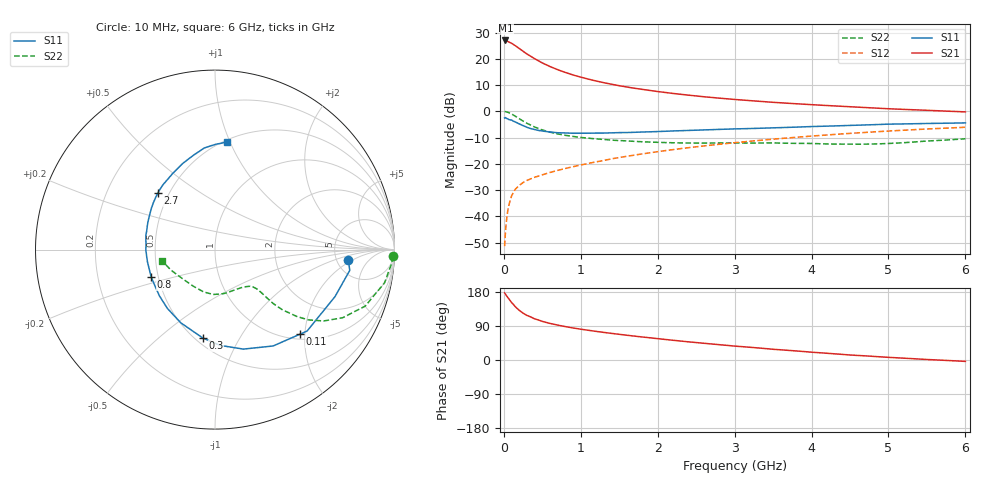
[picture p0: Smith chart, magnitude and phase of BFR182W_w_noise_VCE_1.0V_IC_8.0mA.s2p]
! Infineon Technologies  Discrete & RF Semiconductors
! BFR182W
! VCE =  1.0 V,  IC =  8.0 mA
! Common Emitter S-Parameters:  Jan 2017
# GHz  S  MA  R  50
!  f  S11  S21  S12  S22
! GHz  MAG  ANG  MAG  ANG  MAG  ANG  MAG  ANG
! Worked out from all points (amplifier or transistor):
!   77 points, 10 MHz to 6 GHz, reference 50 ohm
!   highest |S21| = 27.0 dB at 20 MHz (marker M1)
!   |S21| within 3 dB of that: start of sweep to 197 MHz
!   unconditionally stable (mu >= 1): 1.027 GHz to 2.953 GHz
!   at 130 MHz: K = 0.25, MSG = 28.0 dB, |S12| = -30.6 dB
!   at 2.2 GHz: K = 1.05, MAG = 9.3 dB, |S12| = -14.6 dB
!   at 6 GHz: K = 0.90, MSG = 2.9 dB, |S12| = -6.1 dB
!   lowest NFmin = 1.00 dB at 450 MHz
!   S11 on the Smith chart (normalised r, x): 10 MHz: 6.41, -1.69; 110 MHz: 1.11, -1.89; 300 MHz: 0.54, -0.71; 800 MHz: 0.46, -0.16; 2.7 GHz: 0.44, +0.34; 6 GHz: 0.52, +0.97
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0.01  0.7458 -4.5  22.09 177.1  0.0027 84.4  0.9921 -2.2
0.02  0.7597 -8.8  22.38 174.1  0.0047 95.1  0.9866 -4.6
0.05  0.7181 -21.4  21.55 165.2  0.0125 76.7  0.9626 -11.1
0.1  0.6849 -41.5  19.87 151.8  0.0244 72.4  0.8943 -20.6
0.11  0.6687 -44.7  19.39 149.7  0.0261 70.6  0.8756 -22.0
0.15  0.6271 -58.9  17.77 140.4  0.0329 65.2  0.8062 -28.1
0.2  0.5764 -74.1  15.73 131.1  0.0387 60.7  0.7243 -33.3
0.25  0.5346 -86.9  13.93 123.6  0.0441 57.4  0.6524 -36.9
0.3  0.497 -97.9  12.36 117.7  0.0483 55.8  0.5909 -39.2
0.4  0.4501 -115.1  10.04 108.6  0.0554 54.9  0.5024 -41.8
0.5  0.4216 -129.0  8.346 101.9  0.0617 54.7  0.4422 -42.8
0.6  0.4031 -140.1  7.138 96.5  0.0684 55.5  0.4007 -42.9
0.8  0.387 -156.7  5.503 88.1  0.0815 58.0  0.3491 -42.9
0.9  0.3822 -163.4  4.923 84.5  0.0882 58.2  0.3325 -43.0
1.1  0.3827 -174.9  4.1 78.4  0.1021 59.9  0.3078 -43.8
1.5  0.3931 168.4  3.077 67.8  0.1316 60.8  0.2773 -47.6
2.1  0.4169 149.6  2.284 54.2  0.1784 60.0  0.254 -58.7
2.7  0.4472 135.5  1.838 42.3  0.2272 57.1  0.2489 -73.4
3.1  0.466 127.0  1.641 35.2  0.2606 54.4  0.2489 -82.9
4.1  0.5172 108.9  1.314 19.2  0.346 46.4  0.2414 -108.0
5.1  0.5726 94.6  1.104 5.9  0.4288 36.9  0.248 -142.8
6  0.6021 83.8  0.975 -3.7  0.4971 27.7  0.2997 -167.9
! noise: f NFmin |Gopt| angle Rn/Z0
0.45  1  0.12  39  0.15
0.9  1.08  0.12  69  0.15
1.9  1.59  0.18  -174  0.13
2.4  1.85  0.18  -169  0.19
